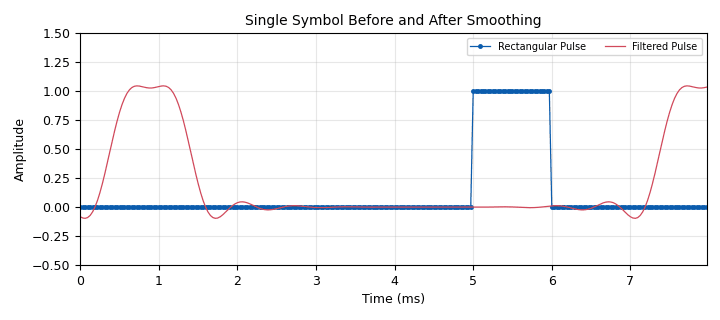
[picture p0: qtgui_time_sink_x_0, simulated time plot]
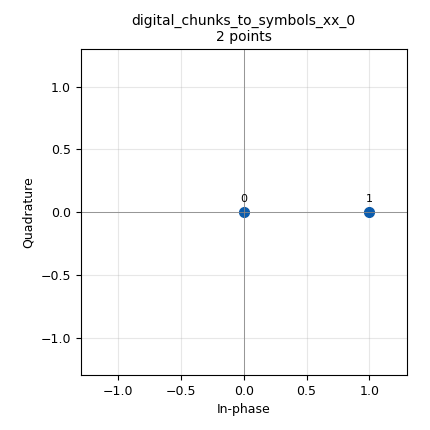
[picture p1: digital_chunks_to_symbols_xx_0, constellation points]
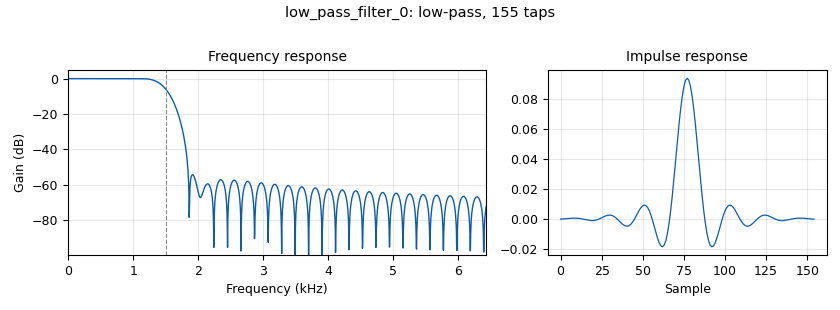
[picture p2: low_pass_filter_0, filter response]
options:
  parameters:
    author: Dhrubjun
    generate_options: qt_gui
    id: exp3
    output_language: python
    title: Single Symbol Pulse Spreading
  states: {}

blocks:
- name: samp_rate
  id: variable
  parameters:
    value: '32000'
  states: {}
- name: sps
  id: variable
  parameters:
    value: int(samp_rate / symbol_rate)
  states: {}
- name: symbol_rate
  id: variable_qtgui_range
  parameters:
    label: Symbol Rate
    start: '500'
    step: '500'
    stop: '3000'
    value: '1000'
  states: {}
- name: blocks_repeat_0_0
  id: blocks_repeat
  parameters:
    interp: sps
    type: float
  states: {}
- name: blocks_throttle2_0
  id: blocks_throttle2
  parameters:
    samples_per_second: samp_rate
    type: float
  states: {}
- name: blocks_vector_source_x_0
  id: blocks_vector_source_x
  parameters:
    repeat: 'True'
    type: byte
    vector: (0, 0, 0, 1, 0, 0, 0)
  states: {}
- name: digital_chunks_to_symbols_xx_0
  id: digital_chunks_to_symbols_xx
  parameters:
    dimension: '1'
    in_type: byte
    out_type: float
    symbol_table: '[0, 1]'
  states: {}
- name: low_pass_filter_0
  id: low_pass_filter
  parameters:
    cutoff_freq: '1500'
    decim: '1'
    gain: '1'
    samp_rate: samp_rate
    type: fir_filter_fff
    width: '500'
    win: window.WIN_HAMMING
  states: {}
- name: qtgui_time_sink_x_0
  id: qtgui_time_sink_x
  parameters:
    grid: 'True'
    label1: Rectangular Pulse
    label2: Filtered Pulse
    marker1: '0'
    name: Single Symbol Before and After Smoothing
    nconnections: '2'
    size: '256'
    srate: samp_rate
    style1: '2'
    type: float
    update_time: '2'
    width2: '2'
    ymax: '1.5'
    ymin: '-0.5'
  states: {}

connections:
- [blocks_repeat_0_0, '0', blocks_throttle2_0, '0']
- [blocks_throttle2_0, '0', low_pass_filter_0, '0']
- [blocks_throttle2_0, '0', qtgui_time_sink_x_0, '0']
- [blocks_vector_source_x_0, '0', digital_chunks_to_symbols_xx_0, '0']
- [digital_chunks_to_symbols_xx_0, '0', blocks_repeat_0_0, '0']
- [low_pass_filter_0, '0', qtgui_time_sink_x_0, '1']

metadata:
  file_format: 1
  grc_version: 3.10.12.0
